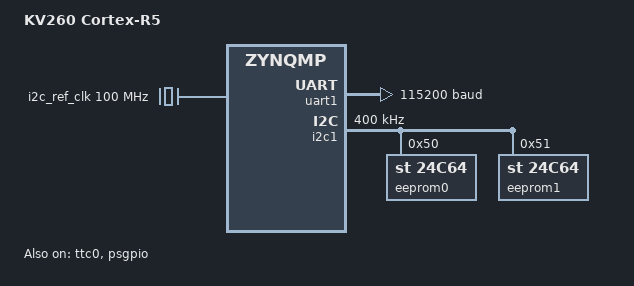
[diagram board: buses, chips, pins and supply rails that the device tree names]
/*
 * Copyright (c) 2022 Linaro.
 *
 * SPDX-License-Identifier: Apache-2.0
 *
 */

/dts-v1/;
#include <arm/xilinx/zynqmp_rpu.dtsi>

/ {
	model = "KV260 Cortex-R5";
	compatible = "xlnx,zynqmp-r5";

	chosen {
		zephyr,sram = &sram0;
		zephyr,flash = &flash0;
		zephyr,console = &uart1;
		zephyr,shell-uart = &uart1;
		zephyr,ocm = &ocm;
	};

	aliases {
		eeprom-0 = &eeprom0;
		eeprom-1 = &eeprom1;
	};

	i2c_ref_clk: i2c_ref_clk {
		compatible = "fixed-clock";
		clock-frequency = <100000000>;
		#clock-cells = <0>;
	};
};

&uart1 {
	status = "okay";
	current-speed = <115200>;
	clock-frequency = <99999901>;
};

&ttc0 {
	status = "okay";
	clock-frequency = <5000000>;
};

&psgpio {
	status = "okay";
};

&i2c1 {
	status = "okay";
	clocks = <&i2c_ref_clk>;
	clock-frequency = <400000>;

	eeprom0: eeprom@50 {
		compatible = "st,24c64", "atmel,at24";
		reg = <0x50>;
		size = <DT_SIZE_K(8)>;
		pagesize = <32>;
		address-width = <16>;
		timeout = <5>;
		read-only;
	};

	eeprom1: eeprom@51 {
		compatible = "st,24c64", "atmel,at24";
		reg = <0x51>;
		size = <DT_SIZE_K(8)>;
		pagesize = <32>;
		address-width = <16>;
		timeout = <5>;
		read-only;
	};
};
